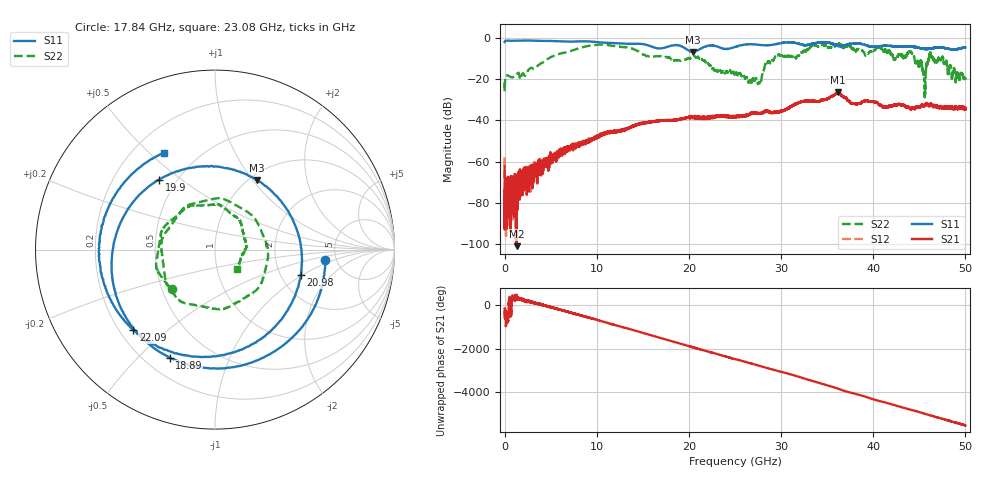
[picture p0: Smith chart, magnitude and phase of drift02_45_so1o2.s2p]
!Created with skrf (http://scikit-rf.org).
# Hz S RI R 50.0
!freq ReS11 ImS11 ReS21 ImS21 ReS12 ImS12 ReS22 ImS22
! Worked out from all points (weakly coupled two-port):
!   10001 points, 300 kHz to 50 GHz, reference 50 ohm
!   highest |S21| = -26.30 dB at 36.13 GHz (marker M1); lowest = -100.9 dB at 1.3 GHz (marker M2)
!   lowest |S11| = -6.9 dB at 20.4 GHz (marker M3), VSWR 2.65, Z = 53.8 + j52.3 ohm
!   |S11| at or under -10 dB: nowhere
!   |S22| runs from -28.9 to -2.6 dB; largest |S21 - S12| = 0.005
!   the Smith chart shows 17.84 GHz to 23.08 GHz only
!   S11 on the Smith chart (normalised r, x): 17.84 GHz: 4.07, -0.80; 18.89 GHz: 0.30, -0.62; 19.9 GHz: 0.40, +0.42; 20.98 GHz: 2.56, -0.97; 22.09 GHz: 0.26, -0.39; 23.08 GHz: 0.32, +0.55
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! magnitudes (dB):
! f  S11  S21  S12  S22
! 300 kHz  -2.1  -62.4  -58.0  -21.7
! 265.3 MHz  -1.4  -75.8  -77.2  -18.2
! 1.3 GHz  -1.4  -100.9  -69.5  -17.8
! 8.335 GHz  -1.7  -51.3  -50.9  -4.7
! 16.67 GHz  -5.2  -40.4  -40.3  -9.0
! 17.84 GHz  -4.2  -40.1  -39.9  -9.7
! 18.89 GHz  -3.7  -39.6  -39.5  -10.9
! 19.9 GHz  -6.0  -38.6  -38.5  -9.9
! 20.4 GHz  -6.9  -38.1  -38.3  -9.7
! 20.98 GHz  -6.1  -38.5  -38.6  -9.4
! 22.09 GHz  -3.9  -38.7  -38.9  -12.6
! 23.08 GHz  -4.3  -38.0  -38.1  -15.8
! 25 GHz  -4.5  -38.1  -38.2  -17.7
! 27.62 GHz  -3.5  -36.7  -36.7  -21.7
! 29.54 GHz  -3.0  -35.9  -35.9  -8.8
! 33.34 GHz  -3.0  -30.7  -30.5  -3.8
! 36.13 GHz  -3.9  -26.3  -27.0  -3.2
! 41.67 GHz  -3.9  -33.3  -33.4  -6.1
! 44.14 GHz  -4.2  -34.4  -34.4  -7.1
! 45.5 GHz  -5.4  -32.9  -32.9  -18.1
! 46.28 GHz  -5.2  -32.4  -32.3  -8.9
! 50 GHz  -4.8  -34.9  -33.8  -19.9
